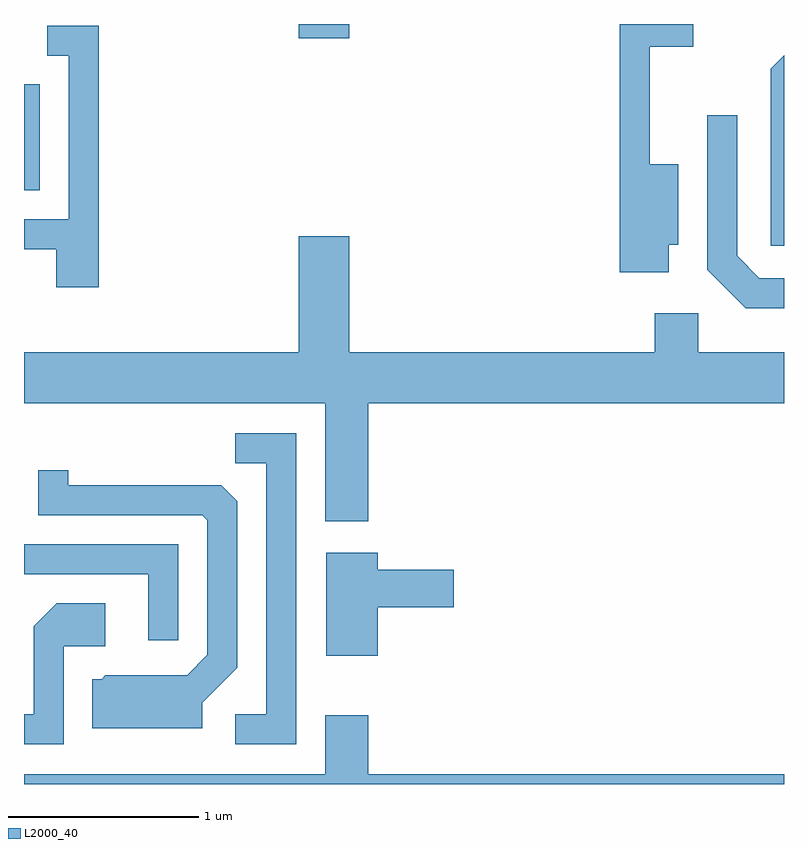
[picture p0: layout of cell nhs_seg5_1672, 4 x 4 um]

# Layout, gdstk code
import gdstk
lib = gdstk.Library(unit=1e-6, precision=1e-09)
def R(c, l, rs):  # rectangles x0, y0, x1, y1
    for r in rs: c.add(gdstk.rectangle(r[:2], r[2:], *l))
def P(c, l, *ps):  # polygons
    for p in ps: c.add(gdstk.Polygon(p, *l))
L2000_40 = (2000, 40)

nhs_seg5_1672 = lib.new_cell('nhs_seg5_1672')
R(nhs_seg5_1672, L2000_40, [(233.611,1511.196,233.694,1511.754), (235.056,1511.996,235.324,1512.072)])
P(nhs_seg5_1672, L2000_40, [(237.004,1510.911),(237.054,1510.911),(237.054,1511.334),(236.904,1511.334),(236.904,1511.951),(237.133,1511.951),(237.133,1512.072),(236.746,1512.072),(236.746,1510.766),(237.004,1510.766)],
  [(234.004,1512.064),(233.733,1512.064),(233.733,1511.906),(233.846,1511.906),(233.846,1511.044),(233.611,1511.044),(233.611,1510.886),(233.781,1510.886),(233.781,1510.686),(234.004,1510.686)],
  [(237.611,1511.907),(237.541,1511.837),(237.541,1510.906),(237.611,1510.906)],
  [(237.611,1510.734),(237.482,1510.734),(237.364,1510.852),(237.364,1511.593),(237.206,1511.593),(237.206,1510.779),(237.409,1510.576),(237.611,1510.576)],
  [(235.324,1510.954),(235.056,1510.954),(235.056,1510.344),(233.611,1510.344),(233.611,1510.076),(235.196,1510.076),(235.196,1509.456),(235.424,1509.456),(235.424,1510.076),(237.611,1510.076),(237.611,1510.344),(237.159,1510.344),(237.159,1510.549),(236.931,1510.549),(236.931,1510.344),(235.324,1510.344)],
  [(235.044,1509.919),(234.723,1509.919),(234.723,1509.761),(234.886,1509.761),(234.886,1508.439),(234.723,1508.439),(234.723,1508.281),(235.044,1508.281)],
  [(234.549,1508.499),(234.734,1508.684),(234.734,1509.559),(234.649,1509.644),(233.844,1509.644),(233.844,1509.723),(233.686,1509.723),(233.686,1509.486),(234.549,1509.486),(234.576,1509.459),(234.576,1508.752),(234.469,1508.644),(234.039,1508.644),(234.019,1508.624),(233.971,1508.624),(233.971,1508.366),(234.549,1508.366)],
  [(234.424,1509.334),(233.611,1509.334),(233.611,1509.176),(234.266,1509.176),(234.266,1508.828),(234.424,1508.828)],
  [(235.474,1509.001),(235.874,1509.001),(235.874,1509.199),(235.474,1509.199),(235.474,1509.289),(235.201,1509.289),(235.201,1508.746),(235.474,1508.746)],
  [(233.819,1508.796),(234.039,1508.796),(234.039,1509.024),(233.784,1509.024),(233.661,1508.902),(233.661,1508.439),(233.611,1508.439),(233.611,1508.281),(233.819,1508.281)],
  [(237.611,1508.124),(235.424,1508.124),(235.424,1508.434),(235.196,1508.434),(235.196,1508.124),(233.611,1508.124),(233.611,1508.072),(237.611,1508.072)])

lib.write_gds('nhs_seg5_1672.gds')
